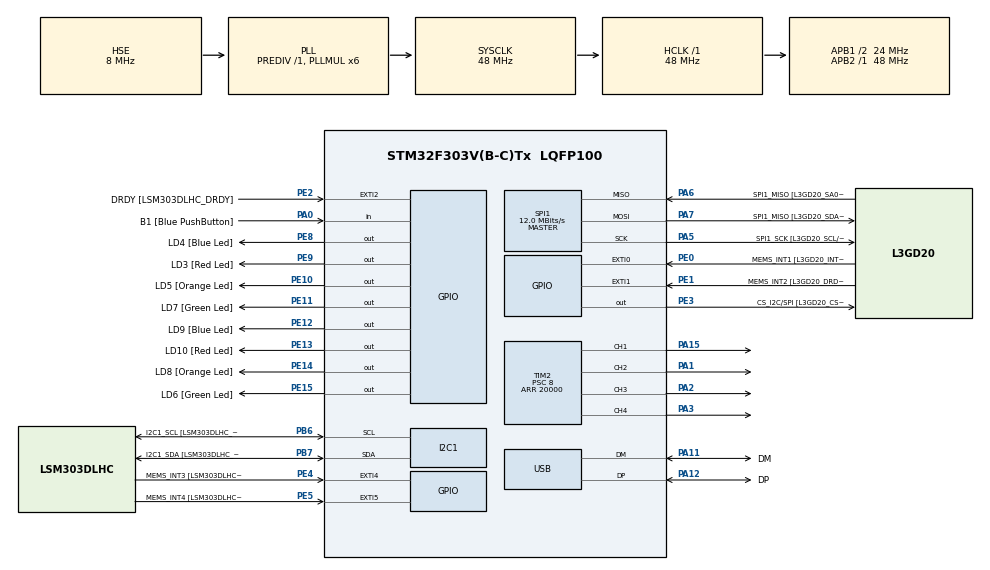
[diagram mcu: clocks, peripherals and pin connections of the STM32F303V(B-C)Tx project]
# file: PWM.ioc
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I2C1.Timing-I2C=0x2000090E
Mcu.Family=STM32F3
Mcu.Name=STM32F303V(B-C)Tx
Mcu.Package=LQFP100
NVIC.PriorityGroup=NVIC_PRIORITYGROUP_0
PA0.GPIO_Label=B1 [Blue PushButton]
PA0.Signal=GPIO_Input
PA1.Signal=S_TIM2_CH2
PA11.GPIO_Label=DM
PA11.Mode=Device
PA11.Signal=USB_DM
PA12.GPIO_Label=DP
PA12.Mode=Device
PA12.Signal=USB_DP
PA13.GPIO_Label=SWDIO
PA13.Mode=Serial_Wire
PA13.Signal=SYS_JTMS-SWDIO
PA14.GPIO_Label=SWCLK
PA14.Mode=Serial_Wire
PA14.Signal=SYS_JTCK-SWCLK
PA15.Signal=S_TIM2_CH1_ETR
PA2.Signal=S_TIM2_CH3
PA3.Signal=S_TIM2_CH4
PA5.GPIO_Label=SPI1_SCK [L3GD20_SCL/SPC]
PA5.Mode=Full_Duplex_Master
PA5.Signal=SPI1_SCK
PA6.GPIO_Label=SPI1_MISO [L3GD20_SA0/SDO]
PA6.Mode=Full_Duplex_Master
PA6.Signal=SPI1_MISO
PA7.GPIO_Label=SPI1_MISO [L3GD20_SDA/SDI/SDO]
PA7.Mode=Full_Duplex_Master
PA7.Signal=SPI1_MOSI
PB3.GPIO_Label=SWO
PB3.Signal=SYS_JTDO-TRACESWO
PB6.GPIO_Label=I2C1_SCL [LSM303DLHC_SCL]
PB6.Mode=I2C
PB6.Signal=I2C1_SCL
PB7.GPIO_Label=I2C1_SDA [LSM303DLHC_SDA]
PB7.Mode=I2C
PB7.Signal=I2C1_SDA
PC14-OSC32_IN.GPIO_Label=OSC32_IN
PC14-OSC32_IN.Signal=RCC_OSC32_IN
PC15-OSC32_OUT.GPIO_Label=OSC32_OUT
PC15-OSC32_OUT.Signal=RCC_OSC32_OUT
PE0.GPIO_Label=MEMS_INT1 [L3GD20_INT1]
PE0.GPIO_ModeDefaultEXTI=GPIO_MODE_EVT_RISING
PE0.Signal=GPXTI0
PE1.GPIO_Label=MEMS_INT2 [L3GD20_DRDY/INT2]
PE1.GPIO_ModeDefaultEXTI=GPIO_MODE_EVT_RISING
PE1.Signal=GPXTI1
PE10.GPIO_Label=LD5 [Orange Led]
PE10.Signal=GPIO_Output
PE11.GPIO_Label=LD7 [Green Led]
PE11.Signal=GPIO_Output
PE12.GPIO_Label=LD9 [Blue Led]
PE12.Signal=GPIO_Output
PE13.GPIO_Label=LD10 [Red Led]
PE13.Signal=GPIO_Output
PE14.GPIO_Label=LD8 [Orange Led]
PE14.Signal=GPIO_Output
PE15.GPIO_Label=LD6 [Green Led]
PE15.Signal=GPIO_Output
PE2.GPIO_Label=DRDY [LSM303DLHC_DRDY]
PE2.GPIO_ModeDefaultEXTI=GPIO_MODE_EVT_RISING
PE2.Signal=GPXTI2
PE3.GPIO_Label=CS_I2C/SPI [L3GD20_CS_I2C/SPI]
PE3.Signal=GPIO_Output
PE4.GPIO_Label=MEMS_INT3 [LSM303DLHC_INT1]
PE4.GPIO_ModeDefaultEXTI=GPIO_MODE_EVT_RISING
PE4.Signal=GPXTI4
PE5.GPIO_Label=MEMS_INT4 [LSM303DLHC_INT2]
PE5.GPIO_ModeDefaultEXTI=GPIO_MODE_EVT_RISING
PE5.Signal=GPXTI5
PE8.GPIO_Label=LD4 [Blue Led]
PE8.Signal=GPIO_Output
PE9.GPIO_Label=LD3 [Red Led]
PE9.Signal=GPIO_Output
PF0-OSC_IN.GPIO_Label=OSC_IN
PF0-OSC_IN.Mode=HSE-External-Clock-Source
PF0-OSC_IN.Signal=RCC_OSC_IN
PF1-OSC_OUT.GPIO_Label=OSC_OUT
PF1-OSC_OUT.Signal=RCC_OSC_OUT
ProjectManager.HeapSize=0x200
ProjectManager.StackSize=0x400
ProjectManager.TargetToolchain=STM32CubeIDE
RCC.AHBFreq_Value=48000000
RCC.APB1CLKDivider=RCC_HCLK_DIV2
RCC.APB1Freq_Value=24000000
RCC.APB1TimFreq_Value=48000000
RCC.APB2Freq_Value=48000000
RCC.APB2TimFreq_Value=48000000
RCC.CortexFreq_Value=48000000
RCC.HCLKFreq_Value=48000000
RCC.HSE_VALUE=8000000
RCC.HSI_VALUE=8000000
RCC.LSE_VALUE=32768
RCC.PLLMUL=RCC_PLL_MUL6
RCC.SYSCLKFreq_VALUE=48000000
RCC.SYSCLKSourceVirtual=RCC_SYSCLKSOURCE_PLLCLK
RCC.USBFreq_Value=48000000
SH.S_TIM2_CH1_ETR.0=TIM2_CH1,PWM Generation1 CH1
SH.S_TIM2_CH2.0=TIM2_CH2,PWM Generation2 CH2
SH.S_TIM2_CH3.0=TIM2_CH3,PWM Generation3 CH3
SH.S_TIM2_CH4.0=TIM2_CH4,PWM Generation4 CH4
SPI1.BaudRatePrescaler=SPI_BAUDRATEPRESCALER_4
SPI1.BaudRatePrescaler-Full_Duplex_Master=SPI_BAUDRATEPRESCALER_2
SPI1.CalculateBaudRate=12.0 MBits/s
SPI1.CalculateBaudRate-Full_Duplex_Master=24.0 MBits/s
SPI1.Direction=SPI_DIRECTION_2LINES
SPI1.Mode=SPI_MODE_MASTER
SPI1.Mode-Full_Duplex_Master=SPI_MODE_MASTER
SPI1.VirtualType=VM_MASTER
TIM2.Channel-PWM\ Generation1\ CH1=TIM_CHANNEL_1
TIM2.Channel-PWM\ Generation2\ CH2=TIM_CHANNEL_2
TIM2.Channel-PWM\ Generation3\ CH3=TIM_CHANNEL_3
TIM2.Channel-PWM\ Generation4\ CH4=TIM_CHANNEL_4
TIM2.OCMode_PWM-PWM\ Generation1\ CH1=TIM_OCMODE_PWM1
TIM2.OCMode_PWM-PWM\ Generation2\ CH2=TIM_OCMODE_PWM1
TIM2.OCMode_PWM-PWM\ Generation3\ CH3=TIM_OCMODE_PWM1
TIM2.OCMode_PWM-PWM\ Generation4\ CH4=TIM_OCMODE_PWM1
TIM2.Period=20000
TIM2.Prescaler=8
VP_TIM2_VS_ClockSourceINT.Mode=Internal
board=STM32F3DISCOVERY

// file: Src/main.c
/* USER CODE BEGIN Header */
/**
  ******************************************************************************
  * @file           : main.c
  * @brief          : Main program body
  ******************************************************************************
  * @attention
  *
  * <h2><center>&copy; Copyright (c) 2019 STMicroelectronics.
  * All rights reserved.</center></h2>
  *
  * This software component is licensed by ST under BSD 3-Clause license,
  * the "License"; You may not use this file except in compliance with the
  * License. You may obtain a copy of the License at:
  *                        opensource.org/licenses/BSD-3-Clause
  *
  ******************************************************************************
  */
/* USER CODE END Header */

#include "main.h"

/* USER CODE BEGIN PD */
double hamaraMap(int value,float r1,float r2,float s1,float s2)
{
 double mapped_value = 0;
 mapped_value = ( (s2-s1)*((value-r1)/(r2-r1))+(s1) );
 return mapped_value;

}

int CCRval(int degrees)
{
 double temp = 0;
 temp = hamaraMap(degrees,-90.0,90.0,0.05,0.10);
 int value;
 value = 20000*temp;
 return value;
}

/* USER CODE END PD */

I2C_HandleTypeDef hi2c1;

SPI_HandleTypeDef hspi1;

TIM_HandleTypeDef htim2;

PCD_HandleTypeDef hpcd_USB_FS;

void SystemClock_Config(void);
static void MX_GPIO_Init(void);
static void MX_I2C1_Init(void);
static void MX_SPI1_Init(void);
static void MX_TIM2_Init(void);
static void MX_USB_PCD_Init(void);

/* USER CODE BEGIN 0 */
   int angle[4]={-90,-60,60,90};
   int Wval[4];
/* USER CODE END 0 */

int main(void)
{

  /* MCU Configuration--------------------------------------------------------*/

  /* Reset of all peripherals, Initializes the Flash interface and the Systick. */
  HAL_Init();

  /* Configure the system clock */
  SystemClock_Config();

  /* Initialize all configured peripherals */
  MX_GPIO_Init();
  MX_I2C1_Init();
  MX_SPI1_Init();
  MX_TIM2_Init();
  MX_USB_PCD_Init();
  /* USER CODE BEGIN 2 */

  HAL_TIM_PWM_Start(&htim2,TIM_CHANNEL_1);
  HAL_TIM_PWM_Start(&htim2,TIM_CHANNEL_2);
  HAL_TIM_PWM_Start(&htim2,TIM_CHANNEL_3);
  HAL_TIM_PWM_Start(&htim2,TIM_CHANNEL_4);
  /* USER CODE END 2 */

  /* Infinite loop */
  while (1)
  {
	  Wval[0] = CCRval(angle[0]);
	  Wval[1] = CCRval(angle[1]);
	  Wval[2] = CCRval(angle[2]);
	  Wval[3] = CCRval(angle[3]);
	  htim2.Instance->CCR1 = Wval[0];
	  htim2.Instance->CCR2 = Wval[1];
	  htim2.Instance->CCR3 = Wval[2];
	  htim2.Instance->CCR4 = Wval[3];
  }
}

void SystemClock_Config(void)
{
  RCC_OscInitTypeDef RCC_OscInitStruct = {0};
  RCC_ClkInitTypeDef RCC_ClkInitStruct = {0};
  RCC_PeriphCLKInitTypeDef PeriphClkInit = {0};

  /** Initializes the CPU, AHB and APB busses clocks
  */
  RCC_OscInitStruct.OscillatorType = RCC_OSCILLATORTYPE_HSI|RCC_OSCILLATORTYPE_HSE;
  RCC_OscInitStruct.HSEState = RCC_HSE_BYPASS;
  RCC_OscInitStruct.HSEPredivValue = RCC_HSE_PREDIV_DIV1;
  RCC_OscInitStruct.HSIState = RCC_HSI_ON;
  RCC_OscInitStruct.HSICalibrationValue = RCC_HSICALIBRATION_DEFAULT;
  RCC_OscInitStruct.PLL.PLLState = RCC_PLL_ON;
  RCC_OscInitStruct.PLL.PLLSource = RCC_PLLSOURCE_HSE;
  RCC_OscInitStruct.PLL.PLLMUL = RCC_PLL_MUL6;
  if (HAL_RCC_OscConfig(&RCC_OscInitStruct) != HAL_OK)
  {
    Error_Handler();
  }
  /** Initializes the CPU, AHB and APB busses clocks
  */
  RCC_ClkInitStruct.ClockType = RCC_CLOCKTYPE_HCLK|RCC_CLOCKTYPE_SYSCLK
                              |RCC_CLOCKTYPE_PCLK1|RCC_CLOCKTYPE_PCLK2;
  RCC_ClkInitStruct.SYSCLKSource = RCC_SYSCLKSOURCE_PLLCLK;
  RCC_ClkInitStruct.AHBCLKDivider = RCC_SYSCLK_DIV1;
  RCC_ClkInitStruct.APB1CLKDivider = RCC_HCLK_DIV2;
  RCC_ClkInitStruct.APB2CLKDivider = RCC_HCLK_DIV1;

  if (HAL_RCC_ClockConfig(&RCC_ClkInitStruct, FLASH_LATENCY_1) != HAL_OK)
  {
    Error_Handler();
  }
  PeriphClkInit.PeriphClockSelection = RCC_PERIPHCLK_USB|RCC_PERIPHCLK_I2C1;
  PeriphClkInit.I2c1ClockSelection = RCC_I2C1CLKSOURCE_HSI;
  PeriphClkInit.USBClockSelection = RCC_USBCLKSOURCE_PLL;
  if (HAL_RCCEx_PeriphCLKConfig(&PeriphClkInit) != HAL_OK)
  {
    Error_Handler();
  }
}

static void MX_I2C1_Init(void)
{

  hi2c1.Instance = I2C1;
  hi2c1.Init.Timing = 0x2000090E;
  hi2c1.Init.OwnAddress1 = 0;
  hi2c1.Init.AddressingMode = I2C_ADDRESSINGMODE_7BIT;
  hi2c1.Init.DualAddressMode = I2C_DUALADDRESS_DISABLE;
  hi2c1.Init.OwnAddress2 = 0;
  hi2c1.Init.OwnAddress2Masks = I2C_OA2_NOMASK;
  hi2c1.Init.GeneralCallMode = I2C_GENERALCALL_DISABLE;
  hi2c1.Init.NoStretchMode = I2C_NOSTRETCH_DISABLE;
  if (HAL_I2C_Init(&hi2c1) != HAL_OK)
  {
    Error_Handler();
  }
  /** Configure Analogue filter
  */
  if (HAL_I2CEx_ConfigAnalogFilter(&hi2c1, I2C_ANALOGFILTER_ENABLE) != HAL_OK)
  {
    Error_Handler();
  }
  /** Configure Digital filter
  */
  if (HAL_I2CEx_ConfigDigitalFilter(&hi2c1, 0) != HAL_OK)
  {
    Error_Handler();
  }

}

static void MX_SPI1_Init(void)
{

  /* SPI1 parameter configuration*/
  hspi1.Instance = SPI1;
  hspi1.Init.Mode = SPI_MODE_MASTER;
  hspi1.Init.Direction = SPI_DIRECTION_2LINES;
  hspi1.Init.DataSize = SPI_DATASIZE_4BIT;
  hspi1.Init.CLKPolarity = SPI_POLARITY_LOW;
  hspi1.Init.CLKPhase = SPI_PHASE_1EDGE;
  hspi1.Init.NSS = SPI_NSS_SOFT;
  hspi1.Init.BaudRatePrescaler = SPI_BAUDRATEPRESCALER_4;
  hspi1.Init.FirstBit = SPI_FIRSTBIT_MSB;
  hspi1.Init.TIMode = SPI_TIMODE_DISABLE;
  hspi1.Init.CRCCalculation = SPI_CRCCALCULATION_DISABLE;
  hspi1.Init.CRCPolynomial = 7;
  hspi1.Init.CRCLength = SPI_CRC_LENGTH_DATASIZE;
  hspi1.Init.NSSPMode = SPI_NSS_PULSE_ENABLE;
  if (HAL_SPI_Init(&hspi1) != HAL_OK)
  {
    Error_Handler();
  }

}

static void MX_TIM2_Init(void)
{

  TIM_ClockConfigTypeDef sClockSourceConfig = {0};
  TIM_MasterConfigTypeDef sMasterConfig = {0};
  TIM_OC_InitTypeDef sConfigOC = {0};

  htim2.Instance = TIM2;
  htim2.Init.Prescaler = 48;
  htim2.Init.CounterMode = TIM_COUNTERMODE_UP;
  htim2.Init.Period = 20000;
  htim2.Init.ClockDivision = TIM_CLOCKDIVISION_DIV1;
  htim2.Init.AutoReloadPreload = TIM_AUTORELOAD_PRELOAD_DISABLE;
  if (HAL_TIM_Base_Init(&htim2) != HAL_OK)
  {
    Error_Handler();
  }
  sClockSourceConfig.ClockSource = TIM_CLOCKSOURCE_INTERNAL;
  if (HAL_TIM_ConfigClockSource(&htim2, &sClockSourceConfig) != HAL_OK)
  {
    Error_Handler();
  }
  if (HAL_TIM_PWM_Init(&htim2) != HAL_OK)
  {
    Error_Handler();
  }
  sMasterConfig.MasterOutputTrigger = TIM_TRGO_RESET;
  sMasterConfig.MasterSlaveMode = TIM_MASTERSLAVEMODE_DISABLE;
  if (HAL_TIMEx_MasterConfigSynchronization(&htim2, &sMasterConfig) != HAL_OK)
  {
    Error_Handler();
  }
  sConfigOC.OCMode = TIM_OCMODE_PWM1;
  sConfigOC.Pulse = 0;
  sConfigOC.OCPolarity = TIM_OCPOLARITY_HIGH;
  sConfigOC.OCFastMode = TIM_OCFAST_DISABLE;
  if (HAL_TIM_PWM_ConfigChannel(&htim2, &sConfigOC, TIM_CHANNEL_1) != HAL_OK)
  {
    Error_Handler();
  }
  if (HAL_TIM_PWM_ConfigChannel(&htim2, &sConfigOC, TIM_CHANNEL_2) != HAL_OK)
  {
    Error_Handler();
  }
  if (HAL_TIM_PWM_ConfigChannel(&htim2, &sConfigOC, TIM_CHANNEL_3) != HAL_OK)
  {
    Error_Handler();
  }
  if (HAL_TIM_PWM_ConfigChannel(&htim2, &sConfigOC, TIM_CHANNEL_4) != HAL_OK)
  {
    Error_Handler();
  }
  HAL_TIM_MspPostInit(&htim2);

}

static void MX_USB_PCD_Init(void)
{

  hpcd_USB_FS.Instance = USB;
  hpcd_USB_FS.Init.dev_endpoints = 8;
  hpcd_USB_FS.Init.speed = PCD_SPEED_FULL;
  hpcd_USB_FS.Init.phy_itface = PCD_PHY_EMBEDDED;
  hpcd_USB_FS.Init.low_power_enable = DISABLE;
  hpcd_USB_FS.Init.battery_charging_enable = DISABLE;
  if (HAL_PCD_Init(&hpcd_USB_FS) != HAL_OK)
  {
    Error_Handler();
  }

}

static void MX_GPIO_Init(void)
{
  GPIO_InitTypeDef GPIO_InitStruct = {0};

  /* GPIO Ports Clock Enable */
  __HAL_RCC_GPIOE_CLK_ENABLE();
  __HAL_RCC_GPIOC_CLK_ENABLE();
  __HAL_RCC_GPIOF_CLK_ENABLE();
  __HAL_RCC_GPIOA_CLK_ENABLE();
  __HAL_RCC_GPIOB_CLK_ENABLE();

  /*Configure GPIO pin Output Level */
  HAL_GPIO_WritePin(GPIOE, CS_I2C_SPI_Pin|LD4_Pin|LD3_Pin|LD5_Pin
                          |LD7_Pin|LD9_Pin|LD10_Pin|LD8_Pin
                          |LD6_Pin, GPIO_PIN_RESET);

  /*Configure GPIO pins : DRDY_Pin MEMS_INT3_Pin MEMS_INT4_Pin MEMS_INT1_Pin
                           MEMS_INT2_Pin */
  GPIO_InitStruct.Pin = DRDY_Pin|MEMS_INT3_Pin|MEMS_INT4_Pin|MEMS_INT1_Pin
                          |MEMS_INT2_Pin;
  GPIO_InitStruct.Mode = GPIO_MODE_EVT_RISING;
  GPIO_InitStruct.Pull = GPIO_NOPULL;
  HAL_GPIO_Init(GPIOE, &GPIO_InitStruct);

  /*Configure GPIO pins : CS_I2C_SPI_Pin LD4_Pin LD3_Pin LD5_Pin
                           LD7_Pin LD9_Pin LD10_Pin LD8_Pin
                           LD6_Pin */
  GPIO_InitStruct.Pin = CS_I2C_SPI_Pin|LD4_Pin|LD3_Pin|LD5_Pin
                          |LD7_Pin|LD9_Pin|LD10_Pin|LD8_Pin
                          |LD6_Pin;
  GPIO_InitStruct.Mode = GPIO_MODE_OUTPUT_PP;
  GPIO_InitStruct.Pull = GPIO_NOPULL;
  GPIO_InitStruct.Speed = GPIO_SPEED_FREQ_LOW;
  HAL_GPIO_Init(GPIOE, &GPIO_InitStruct);

  /*Configure GPIO pin : B1_Pin */
  GPIO_InitStruct.Pin = B1_Pin;
  GPIO_InitStruct.Mode = GPIO_MODE_INPUT;
  GPIO_InitStruct.Pull = GPIO_NOPULL;
  HAL_GPIO_Init(B1_GPIO_Port, &GPIO_InitStruct);

}

void Error_Handler(void)
{
}

/************************ (C) COPYRIGHT STMicroelectronics *****END OF FILE****/
